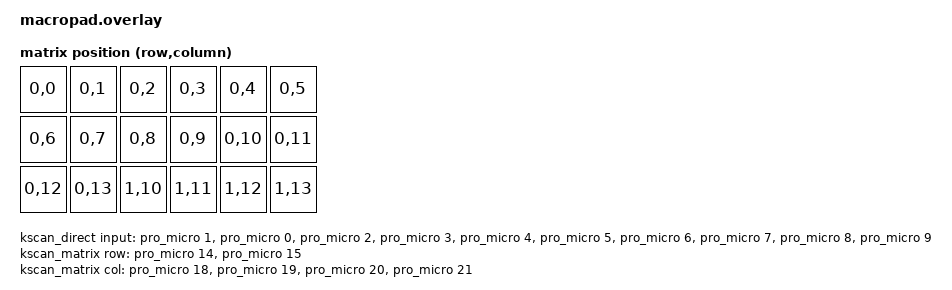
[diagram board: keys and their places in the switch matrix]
#include <dt-bindings/zmk/matrix_transform.h>

/ {
    chosen {
        zmk,kscan = &kscan_composite;
        zmk,matrix-transform = &default_transform;
    };

    default_transform: keymap_transform_0 {
        compatible = "zmk,matrix-transform";
        rows = <2>;
        columns = <14>;
        map = <
            RC(0,0)  RC(0,1)  RC(0,2)  RC(0,3)  RC(0,4)  RC(0,5)
            RC(0,6)  RC(0,7)  RC(0,8)  RC(0,9)  RC(0,10) RC(0,11)
            RC(0,12) RC(0,13) RC(1,10) RC(1,11) RC(1,12) RC(1,13)
        >;
    };

    kscan_composite: kscan_composite {
        compatible = "zmk,kscan-composite";
        rows = <2>;
        columns = <14>;

        direct {
            kscan = <&kscan_direct>;
        };

        matrix {
            kscan = <&kscan_matrix>;
            col-offset = <10>;
        };
    };

    kscan_direct: kscan_direct {
        compatible = "zmk,kscan-gpio-direct";
        wakeup-source;
        input-gpios
            = <&pro_micro 1  (GPIO_ACTIVE_LOW | GPIO_PULL_UP)>
            , <&pro_micro 0  (GPIO_ACTIVE_LOW | GPIO_PULL_UP)>
            , <&pro_micro 2  (GPIO_ACTIVE_LOW | GPIO_PULL_UP)>
            , <&pro_micro 3  (GPIO_ACTIVE_LOW | GPIO_PULL_UP)>
            , <&pro_micro 4  (GPIO_ACTIVE_LOW | GPIO_PULL_UP)>
            , <&pro_micro 5  (GPIO_ACTIVE_LOW | GPIO_PULL_UP)>
            , <&pro_micro 6  (GPIO_ACTIVE_LOW | GPIO_PULL_UP)>
            , <&pro_micro 7  (GPIO_ACTIVE_LOW | GPIO_PULL_UP)>
            , <&pro_micro 8  (GPIO_ACTIVE_LOW | GPIO_PULL_UP)>
            , <&pro_micro 9  (GPIO_ACTIVE_LOW | GPIO_PULL_UP)>
            ;
    };

    kscan_matrix: kscan_matrix {
        compatible = "zmk,kscan-gpio-matrix";
        diode-direction = "col2row";
        wakeup-source;

        row-gpios
            = <&pro_micro 14 (GPIO_ACTIVE_HIGH | GPIO_PULL_DOWN)>
            , <&pro_micro 15 (GPIO_ACTIVE_HIGH | GPIO_PULL_DOWN)>
            ;

        col-gpios
            = <&pro_micro 18 GPIO_ACTIVE_HIGH>
            , <&pro_micro 19 GPIO_ACTIVE_HIGH>
            , <&pro_micro 20 GPIO_ACTIVE_HIGH>
            , <&pro_micro 21 GPIO_ACTIVE_HIGH>
            ;
    };
};
